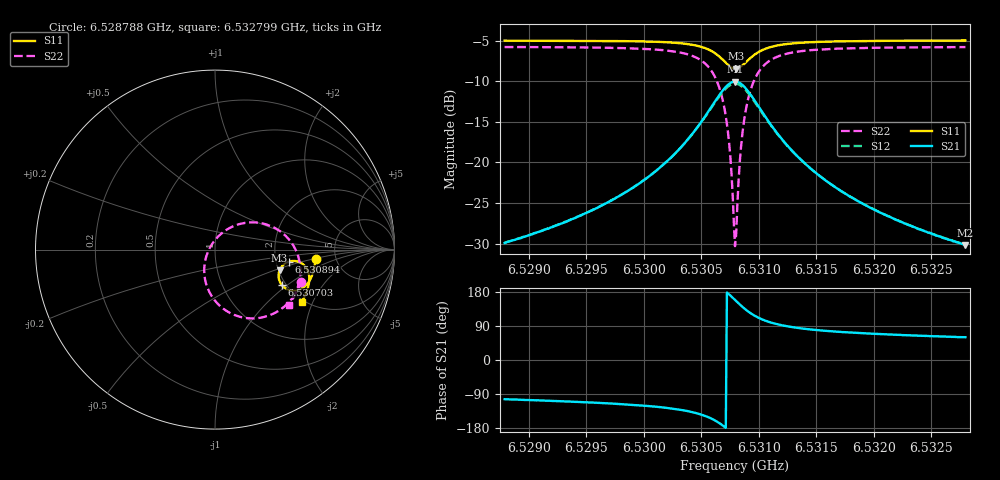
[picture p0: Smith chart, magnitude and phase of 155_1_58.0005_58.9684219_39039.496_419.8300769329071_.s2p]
#  HZ  S  RI  R  50.00
! Rohde & Schwarz Vector Network Analyzer
! Rohde-Schwarz,ZNB20-2Port,1311601062101988,3.16
! Created: UTC 3/21/2024, 12:57:11 AM
! freq[Hz]  re:S11  im:S11  re:S21  im:S21  re:S12  im:S12  re:S22  im:S22
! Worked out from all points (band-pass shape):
!   401 points, 6.528788 GHz to 6.532799 GHz, reference 50 ohm
!   highest |S21| = -10.04 dB at 6.530794 GHz (marker M1); lowest = -30.2 dB at 6.532799 GHz (marker M2)
!   |S21| within 3 dB of the highest: 6.530594 GHz to 6.530995 GHz (401.6 kHz wide, 0.00615 % of centre)
!   lowest |S11| = -8.5 dB at 6.530804 GHz (marker M3), VSWR 2.21, Z = 101 - j27.2 ohm
!   |S11| at or under -10 dB: nowhere
!   |S22| runs from -30.3 to -5.8 dB; largest |S21 - S12| = 0.013
!   S11 on the Smith chart (normalised r, x): 6.528788 GHz: 3.49, -0.53; 6.530703 GHz: 1.90, -0.90; 6.530894 GHz: 2.36, -0.38; 6.532799 GHz: 1.95, -1.66
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6.528788e9  0.5605 -0.0521  -0.0074 -0.031  -0.00809 -0.0309  0.4814 -0.1817
6.5294599e9  0.5512 -0.1087  -0.0171 -0.0443  -0.0182 -0.0439  0.4491 -0.2445
6.5301318e9  0.524 -0.1773  -0.0515 -0.0762  -0.0537 -0.0747  0.3652 -0.3336
6.5303624e9  0.4971 -0.2078  -0.0922 -0.0962  -0.0952 -0.0928  0.2823 -0.3731
6.5305329e9  0.4529 -0.2277  -0.1621 -0.1033  -0.1646 -0.0963  0.1531 -0.3777
6.5306331e9  0.4068 -0.2228  -0.2334 -0.0762  -0.2327 -0.0661  0.0334 -0.319
6.5307033e9  0.3706 -0.1952  -0.2864 -0.0164  -0.2803 -0.00585  -0.0438 -0.2078
6.5307434e9  0.3567 -0.1667  -0.3028 0.0378  -0.2935 0.0464  -0.0602 -0.1149
6.5307836e9  0.3553 -0.1322  -0.2982 0.0999  -0.2868 0.1047  -0.0401 -0.0141
6.5307936e9  0.3571 -0.1235  -0.2932 0.1151  -0.2816 0.1189  -0.0289 0.00985
6.5308036e9  0.3599 -0.1151  -0.2867 0.1298  -0.2751 0.1326  -0.0155 0.0326
6.5308136e9  0.3636 -0.107  -0.2788 0.1435  -0.2672 0.1456  0.00025 0.0537
6.5308337e9  0.3733 -0.0926  -0.2594 0.1685  -0.2485 0.1684  0.0366 0.0902
6.5308538e9  0.3853 -0.081  -0.2364 0.1881  -0.2267 0.1868  0.0779 0.1185
6.5308939e9  0.4128 -0.0666  -0.1865 0.2122  -0.1793 0.209  0.1648 0.1484
6.5309641e9  0.457 -0.0655  -0.1092 0.2149  -0.1053 0.2115  0.2947 0.137
6.5310643e9  0.4961 -0.0872  -0.0425 0.1833  -0.0405 0.1815  0.4021 0.0678
6.5312147e9  0.519 -0.1233  -0.00202 0.1357  -0.000709 0.135  0.4612 -0.0298
6.5314654e9  0.5254 -0.167  0.0154 0.0888  0.0165 0.0884  0.4758 -0.129
6.5317763e9  0.5199 -0.2046  0.0184 0.0601  0.0195 0.0598  0.465 -0.197
6.5321373e9  0.5091 -0.2382  0.0179 0.0427  0.0186 0.0425  0.4472 -0.2463
6.5327991e9  0.4849 -0.2893  0.0155 0.0269  0.0162 0.0267  0.4127 -0.3064
